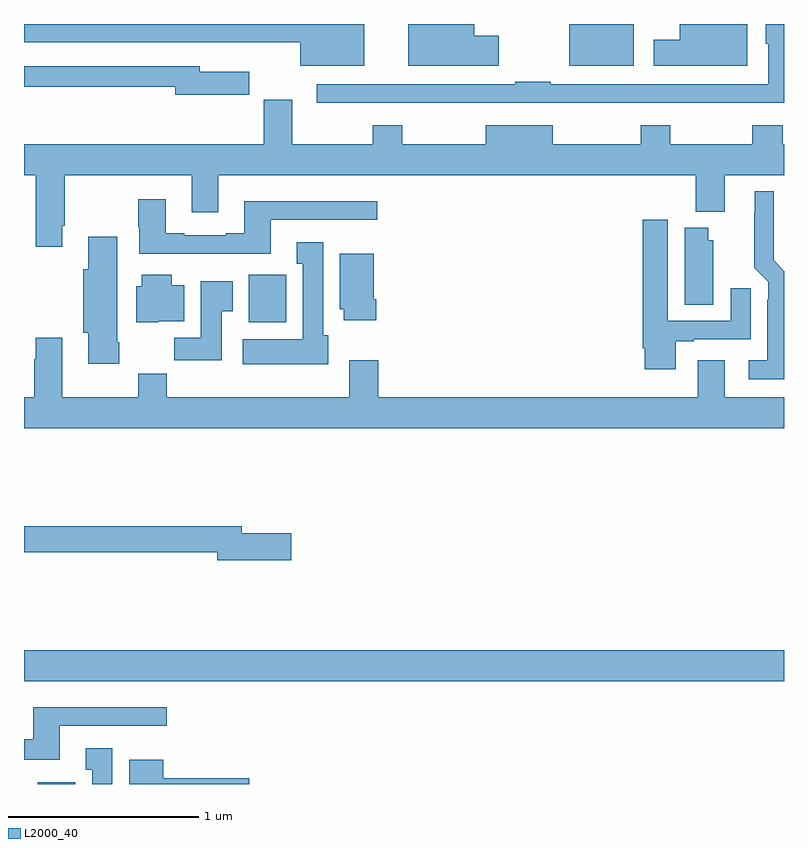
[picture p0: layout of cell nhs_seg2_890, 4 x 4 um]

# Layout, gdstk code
import gdstk
lib = gdstk.Library(unit=1e-6, precision=1e-09)
def R(c, l, rs):  # rectangles x0, y0, x1, y1
    for r in rs: c.add(gdstk.rectangle(r[:2], r[2:], *l))
def P(c, l, *ps):  # polygons
    for p in ps: c.add(gdstk.Polygon(p, *l))
L2000_40 = (2000, 40)

nhs_seg2_890 = lib.new_cell('nhs_seg2_890')
R(nhs_seg2_890, L2000_40, [(157.073,609.8,157.27,609.808), (157,610.34,161,610.504), (158.183,612.23,158.379,612.481), (159.869,613.58,160.21,613.8)])
P(nhs_seg2_890, L2000_40, [(160.807,613.8),(160.451,613.8),(160.451,613.716),(160.314,613.716),(160.314,613.58),(160.807,613.58)],
  [(158.791,613.8),(157,613.8),(157,613.704),(158.02,613.704),(158.02,613.703),(158.453,613.703),(158.453,613.58),(158.791,613.58)],
  [(159.499,613.738),(159.37,613.738),(159.37,613.8),(159.023,613.8),(159.023,613.58),(159.499,613.58)],
  [(159.335,613.386),(159.88,613.386),(159.88,613.385),(160.157,613.385),(160.157,613.386),(160.489,613.386),(160.489,613.385),(160.745,613.385),(160.745,613.386),(161,613.386),(161,613.8),(160.904,613.8),(160.904,613.695),(160.917,613.695),(160.917,613.482),(159.773,613.482),(159.773,613.495),(159.586,613.495),(159.586,613.482),(158.541,613.482),(158.541,613.386),(159.079,613.386),(159.079,613.385),(159.335,613.385)],
  [(158.072,613.428),(158.185,613.428),(158.185,613.549),(157.924,613.549),(157.924,613.578),(157,613.578),(157,613.47),(157.796,613.47),(157.796,613.427),(158.072,613.427)],
  [(157.201,612.739),(157.214,612.739),(157.214,613.004),(157.883,613.004),(157.883,612.81),(158.023,612.81),(158.023,613.004),(160.535,613.004),(160.535,612.812),(160.687,612.812),(160.687,613.004),(161,613.004),(161,613.168),(160.994,613.168),(160.994,613.267),(160.834,613.267),(160.834,613.168),(160.401,613.168),(160.401,613.267),(160.246,613.267),(160.246,613.168),(159.784,613.168),(159.784,613.267),(159.431,613.267),(159.431,613.168),(158.991,613.168),(158.991,613.267),(158.836,613.267),(158.836,613.168),(158.413,613.168),(158.413,613.402),(158.261,613.402),(158.261,613.168),(157,613.168),(157,613.004),(157.061,613.004),(157.061,612.627),(157.201,612.627)],
  [(161,612.5),(160.945,612.556),(160.945,612.919),(160.847,612.919),(160.847,612.809),(160.843,612.809),(160.843,612.518),(160.917,612.444),(160.917,612.35),(160.913,612.35),(160.913,612.031),(160.815,612.031),(160.815,611.93),(161,611.93)],
  [(158.299,612.771),(158.86,612.771),(158.86,612.868),(158.159,612.868),(158.159,612.7),(158.063,612.7),(158.063,612.687),(157.843,612.687),(157.843,612.7),(157.747,612.7),(157.747,612.877),(157.6,612.877),(157.6,612.729),(157.607,612.729),(157.607,612.59),(158.299,612.59)],
  [(160.429,612.129),(160.525,612.129),(160.525,612.141),(160.825,612.141),(160.825,612.409),(160.721,612.409),(160.721,612.237),(160.387,612.237),(160.387,612.769),(160.256,612.769),(160.256,612.094),(160.268,612.094),(160.268,611.982),(160.429,611.982)],
  [(160.627,612.663),(160.6,612.663),(160.6,612.727),(160.478,612.727),(160.478,612.322),(160.627,612.322)],
  [(157.5,612.124),(157.492,612.124),(157.492,612.679),(157.337,612.679),(157.337,612.51),(157.313,612.51),(157.313,612.174),(157.337,612.174),(157.337,612.012),(157.5,612.012)],
  [(158.602,612.162),(158.575,612.162),(158.575,612.652),(158.435,612.652),(158.435,612.539),(158.468,612.539),(158.468,612.142),(158.151,612.142),(158.151,612.008),(158.602,612.008)],
  [(158.855,612.352),(158.842,612.352),(158.842,612.592),(158.663,612.592),(158.663,612.3),(158.684,612.3),(158.684,612.24),(158.855,612.24)],
  [(157.71,612.236),(157.843,612.236),(157.843,612.424),(157.777,612.424),(157.777,612.481),(157.619,612.481),(157.619,612.42),(157.592,612.42),(157.592,612.23),(157.71,612.23)],
  [(158.041,612.289),(158.098,612.289),(158.098,612.445),(157.931,612.445),(157.931,612.148),(157.792,612.148),(157.792,612.03),(158.041,612.03)],
  [(158.711,612.031),(158.711,611.836),(157.751,611.836),(157.751,611.96),(157.6,611.96),(157.6,611.836),(157.201,611.836),(157.201,612.148),(157.061,612.148),(157.061,612.035),(157.054,612.035),(157.054,611.836),(157,611.836),(157,611.672),(161,611.672),(161,611.836),(160.687,611.836),(160.687,612.031),(160.547,612.031),(160.547,611.836),(158.864,611.836),(158.864,612.031)],
  [(158.407,611.12),(158.146,611.12),(158.146,611.156),(157,611.156),(157,611.02),(158.018,611.02),(158.018,610.978),(158.407,610.978)],
  [(157.189,610.107),(157.75,610.107),(157.75,610.204),(157.049,610.204),(157.049,610.036),(157,610.036),(157,609.927),(157.189,609.927)],
  [(157.465,609.988),(157.325,609.988),(157.325,609.875),(157.358,609.875),(157.358,609.8),(157.465,609.8)],
  [(158.185,609.83),(157.732,609.83),(157.732,609.928),(157.553,609.928),(157.553,609.8),(158.185,609.8)])

lib.write_gds('nhs_seg2_890.gds')
